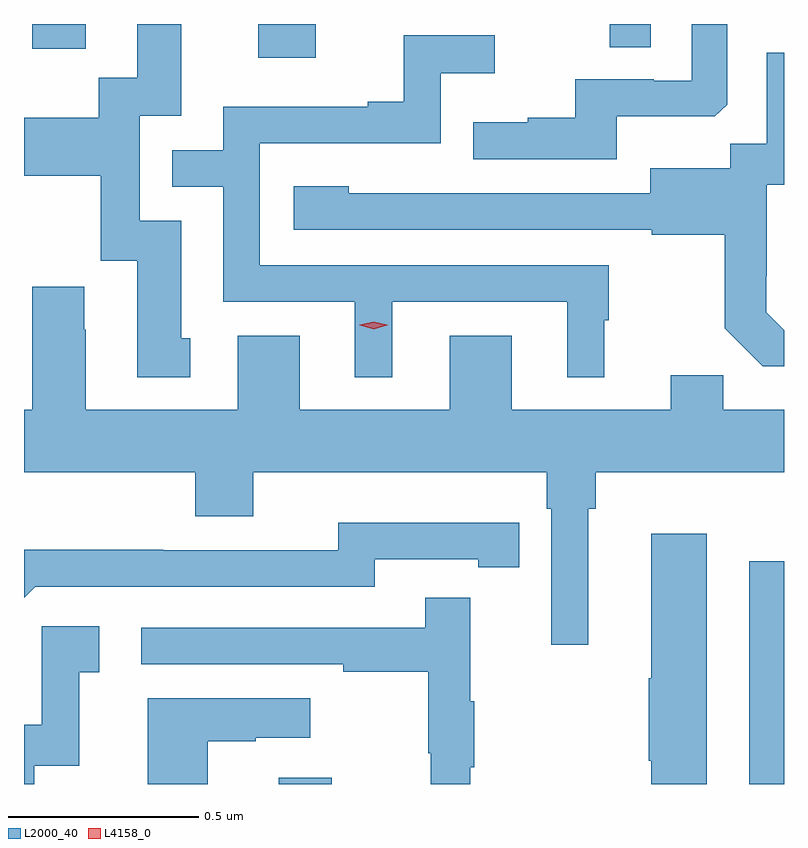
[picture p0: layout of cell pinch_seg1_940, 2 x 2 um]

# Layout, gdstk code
import gdstk
lib = gdstk.Library(unit=1e-6, precision=1e-09)
def R(c, l, rs):  # rectangles x0, y0, x1, y1
    for r in rs: c.add(gdstk.rectangle(r[:2], r[2:], *l))
def P(c, l, *ps):  # polygons
    for p in ps: c.add(gdstk.Polygon(p, *l))
L2000_40 = (2000, 40)
L4158_0 = (4158, 0)

pinch_seg1_940 = lib.new_cell('pinch_seg1_940')
R(pinch_seg1_940, L2000_40, [(245.165,558.903,245.305,558.919), (246.404,558.903,246.495,559.489), (245.111,560.814,245.263,560.903), (244.517,560.838,244.657,560.903), (246.036,560.842,246.144,560.903)])
P(pinch_seg1_940, L2000_40, [(244.933,560.076),(244.909,560.076),(244.909,560.385),(244.8,560.385),(244.8,560.661),(244.909,560.661),(244.909,560.903),(244.793,560.903),(244.793,560.762),(244.692,560.762),(244.692,560.656),(244.495,560.656),(244.495,560.504),(244.697,560.504),(244.697,560.28),(244.793,560.28),(244.793,559.974),(244.933,559.974)],
  [(246.055,560.66),(246.313,560.66),(246.345,560.691),(246.345,560.903),(246.252,560.903),(246.252,560.754),(246.152,560.754),(246.152,560.757),(245.945,560.757),(245.945,560.656),(245.821,560.656),(245.821,560.644),(245.677,560.644),(245.677,560.547),(246.055,560.547)],
  [(245.464,560.172),(245.924,560.172),(245.924,559.973),(246.022,559.973),(246.022,560.124),(246.034,560.124),(246.034,560.268),(245.115,560.268),(245.115,560.589),(245.592,560.589),(245.592,560.774),(245.734,560.774),(245.734,560.873),(245.494,560.873),(245.494,560.698),(245.399,560.698),(245.399,560.685),(245.019,560.685),(245.019,560.571),(244.885,560.571),(244.885,560.475),(245.019,560.475),(245.019,560.172),(245.366,560.172),(245.366,559.973),(245.464,559.973)],
  [(246.495,560.097),(246.448,560.144),(246.448,560.239),(246.45,560.239),(246.45,560.48),(246.495,560.48),(246.495,560.827),(246.449,560.827),(246.449,560.588),(246.354,560.588),(246.354,560.524),(246.143,560.524),(246.143,560.457),(245.585,560.457),(245.585,560.458),(245.349,560.458),(245.349,560.476),(245.205,560.476),(245.205,560.361),(246.147,560.361),(246.147,560.349),(246.339,560.349),(246.339,560.103),(246.439,560.003),(246.495,560.003)],
  [(245.98,559.628),(245.999,559.628),(245.999,559.724),(246.495,559.724),(246.495,559.888),(246.335,559.888),(246.335,559.979),(246.197,559.979),(246.197,559.888),(245.779,559.888),(245.779,560.083),(245.615,560.083),(245.615,559.888),(245.221,559.888),(245.221,560.083),(245.057,560.083),(245.057,559.888),(244.657,559.888),(244.657,560.099),(244.654,560.099),(244.654,560.212),(244.517,560.212),(244.517,559.888),(244.495,559.888),(244.495,559.724),(244.946,559.724),(244.946,559.607),(245.098,559.607),(245.098,559.724),(245.87,559.724),(245.87,559.628),(245.883,559.628),(245.883,559.269),(245.98,559.269)],
  [(244.524,559.422),(245.418,559.422),(245.418,559.494),(245.69,559.494),(245.69,559.474),(245.798,559.474),(245.798,559.59),(245.69,559.59),(245.69,559.591),(245.322,559.591),(245.322,559.518),(244.862,559.518),(244.862,559.52),(244.495,559.52),(244.495,559.393)],
  [(246.292,559.561),(246.146,559.561),(246.146,559.181),(246.139,559.181),(246.139,558.964),(246.146,558.964),(246.146,558.903),(246.292,558.903)],
  [(245.669,558.947),(245.68,558.947),(245.68,559.121),(245.669,559.121),(245.669,559.393),(245.551,559.393),(245.551,559.314),(244.803,559.314),(244.803,559.218),(245.335,559.218),(245.335,559.198),(245.559,559.198),(245.559,558.984),(245.566,558.984),(245.566,558.903),(245.669,558.903)],
  [(244.522,558.951),(244.64,558.951),(244.64,559.197),(244.693,559.197),(244.693,559.318),(244.542,559.318),(244.542,559.059),(244.495,559.059),(244.495,558.903),(244.522,558.903)],
  [(244.978,559.015),(245.105,559.015),(245.105,559.025),(245.248,559.025),(245.248,559.129),(244.82,559.129),(244.82,558.903),(244.978,558.903)])
P(pinch_seg1_940, L4158_0, [(245.415,560.1),(245.379,560.11),(245.379,560.11),(245.379,560.111),(245.415,560.12),(245.451,560.111),(245.451,560.11),(245.451,560.11)])

lib.write_gds('pinch_seg1_940.gds')
